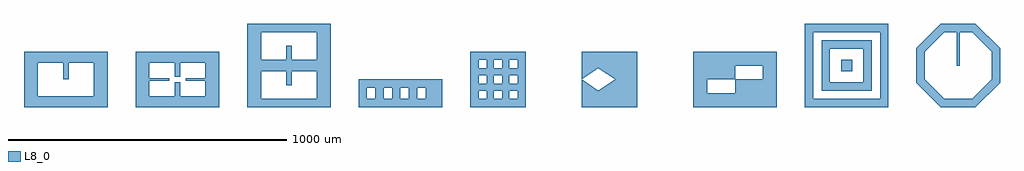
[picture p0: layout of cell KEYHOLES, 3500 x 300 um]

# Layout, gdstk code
import gdstk
lib = gdstk.Library(unit=1e-6, precision=1e-09)
def R(c, l, rs):  # rectangles x0, y0, x1, y1
    for r in rs: c.add(gdstk.rectangle(r[:2], r[2:], *l))
def P(c, l, *ps):  # polygons
    for p in ps: c.add(gdstk.Polygon(p, *l))
L8_0 = (8, 0)

keyholes = lib.new_cell('KEYHOLES')
R(keyholes, L8_0, [(2930,130,2970,170)])
P(keyholes, L8_0, [(300,0),(300,200),(0,200),(0,40),(50,40),(50,160),(140,160),(140,100),(160,100),(160,160),(250,160),(250,40),(50,40),(0,40),(0,0)],
  [(700,0),(700,200),(400,200),(400,40),(450,40),(450,95),(520,95),(520,105),(450,105),(450,160),(540,160),(540,110),(560,110),(560,160),(650,160),(650,105),(580,105),(580,95),(650,95),(650,40),(560,40),(560,90),(540,90),(540,40),(450,40),(400,40),(400,0)],
  [(1100,0),(1100,300),(800,300),(800,170),(850,170),(850,270),(1050,270),(1050,170),(960,170),(960,220),(940,220),(940,170),(850,170),(800,170),(800,30),(850,30),(850,130),(940,130),(940,80),(960,80),(960,130),(1050,130),(1050,30),(850,30),(800,30),(800,0)],
  [(1500,100),(1200,100),(1200,30),(1230,30),(1230,70),(1260,70),(1260,30),(1290,30),(1290,70),(1320,70),(1320,30),(1350,30),(1350,70),(1380,70),(1380,30),(1410,30),(1410,70),(1440,70),(1440,30),(1410,30),(1380,30),(1350,30),(1320,30),(1290,30),(1260,30),(1230,30),(1200,30),(1200,0),(1500,0)],
  [(1800,200),(1600,200),(1600,140),(1630,140),(1630,170),(1660,170),(1660,140),(1685,140),(1685,170),(1715,170),(1715,140),(1740,140),(1740,170),(1770,170),(1770,140),(1740,140),(1715,140),(1685,140),(1660,140),(1630,140),(1600,140),(1600,85),(1630,85),(1630,115),(1660,115),(1660,85),(1685,85),(1685,115),(1715,115),(1715,85),(1740,85),(1740,115),(1770,115),(1770,85),(1740,85),(1715,85),(1685,85),(1660,85),(1630,85),(1600,85),(1600,30),(1630,30),(1630,60),(1660,60),(1660,30),(1685,30),(1685,60),(1715,60),(1715,30),(1740,30),(1740,60),(1770,60),(1770,30),(1740,30),(1715,30),(1685,30),(1660,30),(1630,30),(1600,30),(1600,0),(1800,0)],
  [(2200,200),(2000,200),(2000,100),(2000,100),(2060,140),(2120,100),(2060,60),(2000,100),(2000,100),(2000,0),(2200,0)],
  [(2700,200),(2400,200),(2400,50),(2450,50),(2450,100),(2550,100),(2550,150),(2650,150),(2650,100),(2550,100),(2450,100),(2550,100),(2550,50),(2450,50),(2400,50),(2400,0),(2700,0)],
  [(3100,0),(3100,300),(2800,300),(2800,30),(2830,30),(2830,270),(3070,270),(3070,30),(2830,30),(2800,30),(2800,0)],
  [(3040,60),(3040,240),(2860,240),(2860,90),(2890,90),(2890,210),(3010,210),(3010,90),(2890,90),(2860,90),(2860,60)],
  [(3287.868,0),(3412.132,0),(3500,87.868),(3500,212.132),(3412.132,300),(3287.868,300),(3200,212.132),(3200,100.294),(3230,100.294),(3230,199.706),(3300.294,270),(3345,270),(3345,150),(3355,150),(3355,270),(3399.706,270),(3470,199.706),(3470,100.294),(3399.706,30),(3300.294,30),(3230,100.294),(3200,100.294),(3200,87.868)])

lib.write_gds('KEYHOLES.gds')
